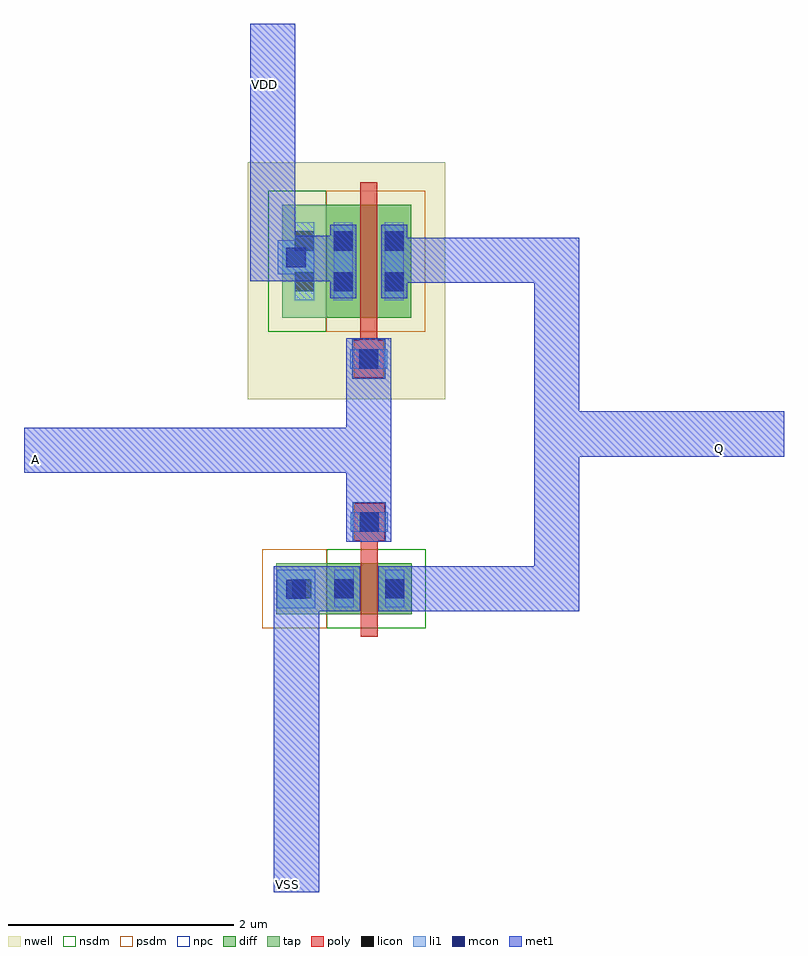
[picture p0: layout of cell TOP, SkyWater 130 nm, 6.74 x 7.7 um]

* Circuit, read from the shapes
.subckt TOP A Q VDD VSS
XM1 Q A VSS VSS sky130_fd_pr__nfet_01v8 w=0.45 l=0.15
XM2 Q A VDD VDD sky130_fd_pr__pfet_01v8 w=1 l=0.15
.ends

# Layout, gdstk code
import gdstk
lib = gdstk.Library(unit=1e-6, precision=5e-09)
def R(c, l, rs):  # rectangles x0, y0, x1, y1
    for r in rs: c.add(gdstk.rectangle(r[:2], r[2:], *l))
nwell = (64, 20)
diff = (65, 20)
tap = (65, 44)
poly = (66, 20)
licon = (66, 44)
li1 = (67, 20)
mcon = (67, 44)
met1 = (68, 20)
nsdm = (93, 44)
psdm = (94, 20)
npc = (95, 20)

top = lib.new_cell('TOP')
R(top, nwell, [(-0.745,0.055,1.005,2.155)])
R(top, diff, [(-0.045,-1.85,0.705,-1.4), (-0.05,0.775,0.7,1.775)])
R(top, tap, [(-0.495,-1.85,-0.045,-1.4), (-0.44,0.775,-0.05,1.775)])
R(top, poly, [(0.255,-2.05,0.405,-1.2), (0.195,-1.2,0.465,-0.87), (0.19,0.245,0.46,0.575), (0.25,0.575,0.4,1.975)])
R(top, licon, [(-0.355,-1.71,-0.185,-1.54), (0.02,-1.71,0.19,-1.54), (0.47,-1.71,0.64,-1.54), (0.245,-1.12,0.415,-0.95), (0.24,0.325,0.41,0.495), (-0.33,1.01,-0.16,1.18), (0.015,1.01,0.185,1.18), (0.465,1.01,0.635,1.18), (-0.33,1.37,-0.16,1.54), (0.015,1.37,0.185,1.54), (0.465,1.37,0.635,1.54)])
R(top, li1, [(-0.49,-1.8,-0.15,-1.46), (-0.355,-1.79,-0.185,-1.46), (0.02,-1.79,0.19,-1.46), (0.47,-1.79,0.64,-1.46), (0.165,-1.12,0.495,-0.95), (0.16,0.325,0.49,0.495), (-0.33,0.93,-0.16,1.62), (0.015,0.93,0.185,1.62), (0.465,0.93,0.635,1.62), (-0.48,1.16,-0.16,1.46)])
R(top, mcon, [(-0.405,-1.715,-0.235,-1.545), (0.02,-1.71,0.19,-1.54), (0.47,-1.71,0.64,-1.54), (0.245,-1.12,0.415,-0.95), (0.24,0.325,0.41,0.495), (0.015,1.01,0.185,1.18), (0.465,1.01,0.635,1.18), (-0.405,1.225,-0.235,1.395), (0.015,1.37,0.185,1.54), (0.465,1.37,0.635,1.54)])
R(top, met1, [(-0.49,-1.8,-0.15,-1.46), (-0.04,-1.77,0.25,-1.48), (0.41,-1.77,0.7,-1.48), (0.145,-1.15,0.515,-0.92), (0.14,0.295,0.51,0.525), (-0.015,0.95,0.215,1.6), (0.435,0.95,0.665,1.6), (-0.48,1.16,-0.16,1.46)])
R(top, nsdm, [(-0.045,-1.975,0.83,-1.275), (-0.565,0.65,-0.05,1.9)])
R(top, psdm, [(-0.62,-1.975,-0.045,-1.275), (-0.05,0.65,0.825,1.9)])
R(top, npc, [(0.185,-1.21,0.475,-0.86), (0.18,0.235,0.47,0.585)])
top.add(gdstk.FlexPath([(0.335,-0.4),(-2.73,-0.4)], 0.4, ends="flush", simple_path=True, layer=68, datatype=20))  # met1
top.add(gdstk.FlexPath([(0.57,1.285),(1.99,1.285),(1.99,-1.625),(0.41,-1.625)], 0.4, ends="flush", simple_path=True, layer=68, datatype=20))  # met1
top.add(gdstk.FlexPath([(2.02,-0.255),(4.005,-0.255)], 0.4, ends="flush", simple_path=True, layer=68, datatype=20))  # met1
top.add(gdstk.FlexPath([(0.25,-1.625),(-0.315,-1.625),(-0.315,-4.315)], 0.4, ends="flush", simple_path=True, layer=68, datatype=20))  # met1
top.add(gdstk.FlexPath([(0.195,1.3),(-0.525,1.3),(-0.525,3.38)], 0.4, ends="flush", simple_path=True, layer=68, datatype=20))  # met1
top.add(gdstk.FlexPath([(0.325,0.595),(0.325,-1.21)], 0.4, ends="flush", simple_path=True, layer=68, datatype=20))  # met1
top.add(gdstk.Label('Q', (3.435,-0.385), layer=68, texttype=16))
top.add(gdstk.Label('A', (-2.625,-0.485), layer=68, texttype=16))
top.add(gdstk.Label('VSS', (-0.395,-4.25), layer=68, texttype=16))
top.add(gdstk.Label('VDD', (-0.595,2.84), layer=68, texttype=16))

lib.write_gds('TOP.gds')
